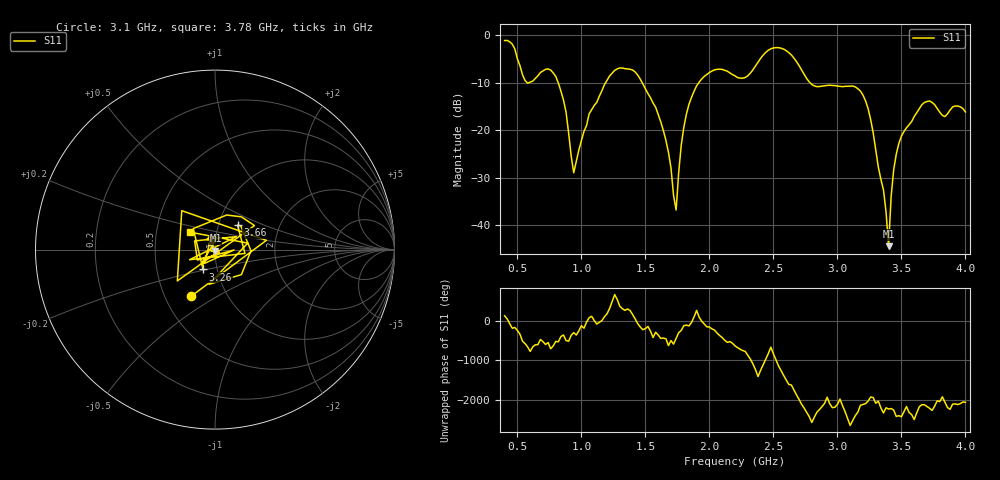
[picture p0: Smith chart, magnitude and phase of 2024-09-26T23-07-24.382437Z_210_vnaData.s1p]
!Created with skrf (http://scikit-rf.org).
# Hz S RI R 50.0
!freq ReS11 ImS11
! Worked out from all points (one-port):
!   181 points, 400 MHz to 4 GHz, reference 50 ohm
!   lowest |S11| = -44.4 dB at 3.4 GHz (marker M1), VSWR 1.01, Z = 50.3 - j0.544 ohm
!   |S11| at or under -10 dB: 818.3 MHz to 1.189 GHz (370.7 MHz wide, 36.9 % of centre); 1.475 GHz to 1.917 GHz (442.8 MHz wide, 26.1 % of centre); 2.786 GHz to end of sweep (the widest 3 of 4)
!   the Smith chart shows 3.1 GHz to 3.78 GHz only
!   S11 on the Smith chart (normalised r, x): 3.1 GHz: 0.68, -0.38; 3.26 GHz: 0.86, -0.19; 3.66 GHz: 1.23, +0.35; 3.78 GHz: 0.74, +0.15
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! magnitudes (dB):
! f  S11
! 400 MHz  -1.2
! 560 MHz  -9.6
! 760 MHz  -7.4
! 860 MHz  -13.7
! 940 MHz  -28.9
! 1.06 GHz  -16.6
! 1.3 GHz  -6.9
! 1.42 GHz  -7.8
! 1.58 GHz  -15.2
! 1.68 GHz  -24.6
! 1.74 GHz  -36.8
! 1.76 GHz  -28.9
! 1.82 GHz  -16.7
! 1.9 GHz  -10.7
! 2.2 GHz  -8.6
! 2.5 GHz  -2.7
! 2.66 GHz  -4.8
! 2.82 GHz  -10.7
! 3.1 GHz  -10.7
! 3.26 GHz  -17.8
! 3.36 GHz  -32.5
! 3.4 GHz  -44.4
! 3.42 GHz  -33.9
! 3.46 GHz  -25.0
! 3.56 GHz  -18.8
! 3.66 GHz  -14.6
! 3.78 GHz  -15.4
! 4 GHz  -16.2
